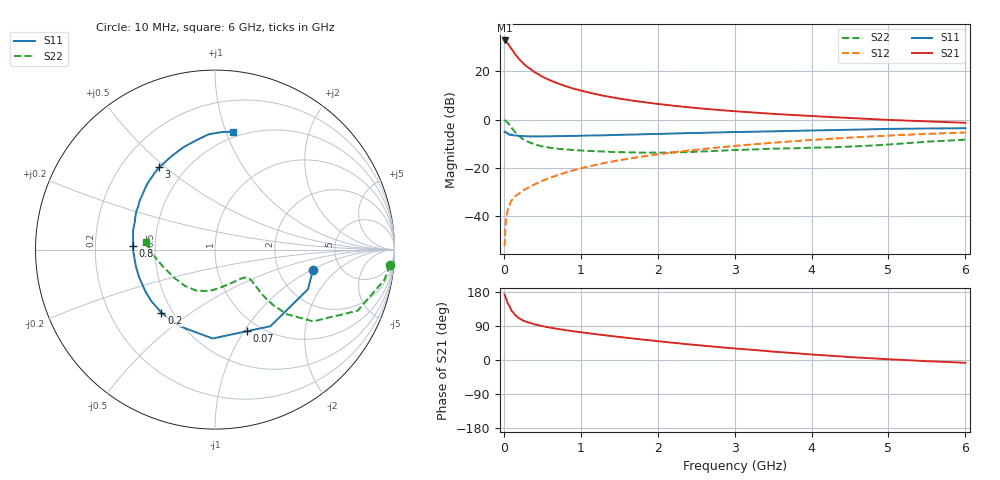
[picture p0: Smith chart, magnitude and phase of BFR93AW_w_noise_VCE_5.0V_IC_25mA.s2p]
! Infineon Technologies  Discrete & RF Semiconductors
! BFR93AW
! VCE =  5.0 V,  IC =  25 mA
! Common Emitter S-Parameters:  Jan 2017
# GHz  S  MA  R  50
!  f  S11  S21  S12  S22
! GHz  MAG  ANG  MAG  ANG  MAG  ANG  MAG  ANG
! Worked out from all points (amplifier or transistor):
!   77 points, 10 MHz to 6 GHz, reference 50 ohm
!   highest |S21| = 32.8 dB at 10 MHz (marker M1)
!   |S21| within 3 dB of that: start of sweep to 88.72 MHz
!   unconditionally stable (mu >= 1): 619.9 MHz to 2.037 GHz
!   at 130 MHz: K = 0.49, MSG = 30.2 dB, |S12| = -32.4 dB
!   at 2.2 GHz: K = 0.99, MSG = 9.7 dB, |S12| = -13.6 dB
!   at 6 GHz: K = 0.88, MSG = 2.0 dB, |S12| = -5.3 dB
!   lowest NFmin = 1.66 dB at 450 MHz
!   S11 on the Smith chart (normalised r, x): 10 MHz: 3.15, -1.03; 70 MHz: 0.87, -1.03; 200 MHz: 0.44, -0.39; 800 MHz: 0.37, +0.02; 3 GHz: 0.36, +0.47; 6 GHz: 0.45, +1.06
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0.01  0.5572 -11.7  43.54 173.1  0.0024 84.8  0.9802 -5.0
0.02  0.5633 -23.0  43.32 166.9  0.0059 81.9  0.9582 -10.2
0.05  0.5269 -54.1  38.21 149.7  0.0135 69.3  0.8644 -23.2
0.07  0.4886 -68.4  34.12 143.0  0.0165 65.3  0.7847 -27.7
0.1  0.4954 -91.5  29.15 129.8  0.0211 61.5  0.6767 -36.2
0.15  0.4704 -115.1  22.35 117.8  0.026 58.1  0.539 -41.9
0.2  0.4613 -130.3  17.81 109.9  0.0297 59.7  0.4521 -43.6
0.25  0.4564 -141.2  14.74 104.2  0.0342 58.8  0.3943 -43.8
0.3  0.4522 -149.1  12.49 100.2  0.0377 60.6  0.3541 -43.4
0.4  0.4501 -160.0  9.608 93.9  0.0456 63.6  0.3069 -41.9
0.5  0.4505 -167.6  7.761 89.4  0.0541 65.3  0.2789 -40.8
0.6  0.4515 -173.9  6.53 85.5  0.0625 66.6  0.2614 -40.2
0.8  0.4582 177.2  4.951 78.9  0.0801 69.0  0.2415 -40.6
0.9  0.459 173.3  4.408 75.9  0.089 69.1  0.2351 -41.5
1.1  0.4689 166.5  3.652 70.7  0.1074 69.1  0.2253 -44.1
1.5  0.4842 155.6  2.731 60.9  0.144 67.7  0.2118 -52.6
2.1  0.5099 141.7  2.028 47.6  0.2004 63.9  0.2077 -71.4
3  0.5538 124.2  1.492 30.4  0.2852 56.4  0.2347 -100.7
3.1  0.5566 122.4  1.455 28.9  0.2945 55.4  0.2368 -103.6
4.1  0.6 105.7  1.165 13.2  0.3885 45.3  0.2637 -132.8
5.1  0.6451 91.8  0.973 1.0  0.4744 34.2  0.3137 -165.6
6  0.665 81.2  0.86 -7.4  0.5419 24.0  0.3854 174.1
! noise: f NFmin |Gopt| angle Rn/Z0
0.45  1.66  0.17  171  0.16
0.9  1.93  0.25  -177  0.16
1.9  2.93  0.49  -136  0.25
2.4  3.59  0.55  -125  0.5
